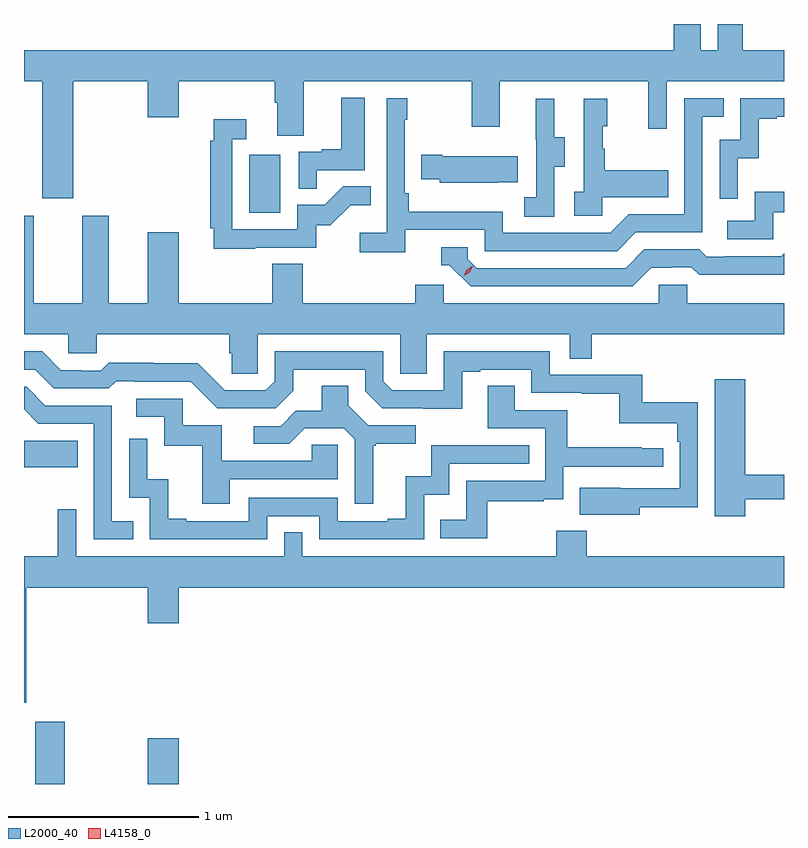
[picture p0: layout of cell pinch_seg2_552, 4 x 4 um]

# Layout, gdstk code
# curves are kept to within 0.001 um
import gdstk
lib = gdstk.Library(unit=1e-6, precision=1e-09)
def R(c, l, rs):  # rectangles x0, y0, x1, y1
    for r in rs: c.add(gdstk.rectangle(r[:2], r[2:], *l))
def P(c, l, *ps):  # polygons
    for p in ps: c.add(gdstk.Polygon(p, *l))
L2000_40 = (2000, 40)
L4158_0 = (4158, 0)

pinch_seg2_552 = lib.new_cell('pinch_seg2_552')
R(pinch_seg2_552, L2000_40, [(1099.48,621.294,1099.635,621.622), (1100.072,621.294,1100.236,621.535), (1099.421,622.961,1099.703,623.101), (1100.606,624.3,1100.77,624.607)])
P(pinch_seg2_552, L2000_40, [(1103.421,625.156),(1103.203,625.156),(1103.203,625.294),(1103.072,625.294),(1103.072,625.156),(1102.984,625.156),(1102.984,625.294),(1102.841,625.294),(1102.841,625.156),(1099.421,625.156),(1099.421,624.992),(1099.517,624.992),(1099.517,624.378),(1099.681,624.378),(1099.681,624.992),(1100.072,624.992),(1100.072,624.804),(1100.236,624.804),(1100.236,624.992),(1100.741,624.992),(1100.741,624.88),(1100.753,624.88),(1100.753,624.706),(1100.893,624.706),(1100.893,624.992),(1101.778,624.992),(1101.778,624.753),(1101.925,624.753),(1101.925,624.992),(1102.706,624.992),(1102.706,624.744),(1102.803,624.744),(1102.803,624.992),(1103.421,624.992)],
  [(1100.963,624.525),(1101.214,624.525),(1101.214,624.907),(1101.092,624.907),(1101.092,624.634),(1100.989,624.634),(1100.989,624.621),(1100.868,624.621),(1100.868,624.427),(1100.963,624.427)],
  [(1101.428,624.21),(1101.846,624.21),(1101.846,624.099),(1102.543,624.099),(1102.642,624.198),(1102.992,624.198),(1102.992,624.807),(1103.105,624.807),(1103.105,624.903),(1102.896,624.903),(1102.896,624.294),(1102.605,624.294),(1102.506,624.195),(1101.942,624.195),(1101.942,624.307),(1101.446,624.307),(1101.446,624.403),(1101.426,624.403),(1101.426,624.791),(1101.439,624.791),(1101.439,624.904),(1101.33,624.904),(1101.33,624.196),(1101.189,624.196),(1101.189,624.094),(1101.428,624.094)],
  [(1103.178,624.587),(1103.288,624.587),(1103.288,624.795),(1103.383,624.795),(1103.383,624.807),(1103.421,624.807),(1103.421,624.903),(1103.19,624.903),(1103.19,624.684),(1103.082,624.684),(1103.082,624.375),(1103.178,624.375)],
  [(1102.464,624.383),(1102.811,624.383),(1102.811,624.523),(1102.477,624.523),(1102.477,624.638),(1102.467,624.638),(1102.467,624.756),(1102.492,624.756),(1102.492,624.901),(1102.368,624.901),(1102.368,624.41),(1102.317,624.41),(1102.317,624.285),(1102.464,624.285)],
  [(1102.212,624.544),(1102.267,624.544),(1102.267,624.699),(1102.213,624.699),(1102.213,624.901),(1102.115,624.901),(1102.115,624.687),(1102.116,624.687),(1102.116,624.383),(1102.053,624.383),(1102.053,624.28),(1102.212,624.28)],
  [(1100.639,624.117),(1100.958,624.117),(1100.958,624.234),(1101.034,624.234),(1101.141,624.341),(1101.245,624.341),(1101.245,624.44),(1101.102,624.44),(1101.004,624.342),(1100.859,624.342),(1100.859,624.213),(1100.517,624.213),(1100.517,624.687),(1100.59,624.687),(1100.59,624.793),(1100.42,624.793),(1100.42,624.68),(1100.401,624.68),(1100.401,624.22),(1100.42,624.22),(1100.42,624.112),(1100.639,624.112)],
  [(1101.911,624.461),(1102.019,624.461),(1102.019,624.598),(1101.622,624.598),(1101.622,624.606),(1101.511,624.606),(1101.511,624.476),(1101.609,624.476),(1101.609,624.458),(1101.911,624.458)],
  [(1103.364,624.303),(1103.421,624.303),(1103.421,624.412),(1103.268,624.412),(1103.268,624.258),(1103.121,624.258),(1103.121,624.162),(1103.364,624.162)],
  [(1100.652,623.66),(1101.402,623.66),(1101.402,623.452),(1101.541,623.452),(1101.541,623.66),(1102.293,623.66),(1102.293,623.533),(1102.409,623.533),(1102.409,623.66),(1103.421,623.66),(1103.421,623.824),(1102.911,623.824),(1102.911,623.922),(1102.761,623.922),(1102.761,623.824),(1101.63,623.824),(1101.63,623.922),(1101.479,623.922),(1101.479,623.824),(1100.888,623.824),(1100.888,624.032),(1100.728,624.032),(1100.728,623.824),(1100.236,623.824),(1100.236,624.199),(1100.072,624.199),(1100.072,623.824),(1099.867,623.824),(1099.867,624.286),(1099.727,624.286),(1099.727,623.824),(1099.471,623.824),(1099.471,624.286),(1099.421,624.286),(1099.421,623.66),(1099.653,623.66),(1099.653,623.562),(1099.803,623.562),(1099.803,623.66),(1100.501,623.66),(1100.501,623.562),(1100.515,623.562),(1100.515,623.452),(1100.652,623.452)],
  [(1102.723,624.012),(1102.83,624.012),(1102.83,624.015),(1102.933,624.015),(1102.975,623.973),(1103.208,623.973),(1103.208,623.975),(1103.421,623.975),(1103.421,624.087),(1103.406,624.072),(1103.113,624.072),(1103.113,624.069),(1103.014,624.069),(1102.975,624.108),(1102.686,624.108),(1102.587,624.009),(1101.804,624.009),(1101.756,624.057),(1101.756,624.12),(1101.617,624.12),(1101.617,624.024),(1101.66,624.024),(1101.771,623.913),(1102.624,623.913)],
  [(1102.663,622.75),(1102.968,622.75),(1102.968,623.302),(1102.675,623.302),(1102.675,623.448),(1102.188,623.448),(1102.188,623.571),(1101.63,623.571),(1101.63,623.367),(1101.36,623.367),(1101.312,623.415),(1101.312,623.571),(1100.742,623.571),(1100.742,623.415),(1100.694,623.367),(1100.478,623.367),(1100.336,623.509),(1100.1,623.509),(1100.1,623.512),(1099.867,623.512),(1099.825,623.469),(1099.722,623.469),(1099.722,623.472),(1099.615,623.472),(1099.516,623.571),(1099.421,623.571),(1099.421,623.475),(1099.479,623.475),(1099.578,623.376),(1099.867,623.376),(1099.906,623.415),(1100.005,623.415),(1100.005,623.412),(1100.298,623.412),(1100.439,623.271),(1100.745,623.271),(1100.839,623.365),(1100.839,623.475),(1101.216,623.475),(1101.216,623.361),(1101.306,623.271),(1101.727,623.27),(1101.727,623.463),(1101.823,623.463),(1101.823,623.475),(1102.092,623.475),(1102.092,623.352),(1102.357,623.352),(1102.357,623.347),(1102.554,623.347),(1102.554,623.192),(1102.859,623.192),(1102.859,623.096),(1102.872,623.096),(1102.872,622.851),(1102.345,622.852),(1102.345,622.712),(1102.663,622.712)],
  [(1103.218,622.794),(1103.421,622.794),(1103.421,622.922),(1103.218,622.922),(1103.218,623.425),(1103.057,623.425),(1103.057,622.704),(1103.218,622.704)],
  [(1101.259,623.073),(1101.271,623.073),(1101.271,623.084),(1101.484,623.084),(1101.484,623.181),(1101.234,623.181),(1101.127,623.288),(1101.127,623.39),(1100.987,623.39),(1100.987,623.258),(1100.852,623.258),(1100.772,623.178),(1100.631,623.178),(1100.631,623.085),(1100.818,623.085),(1100.899,623.166),(1101.105,623.166),(1101.162,623.109),(1101.162,622.77),(1101.259,622.77)],
  [(1101.859,622.782),(1102.157,622.782),(1102.157,622.793),(1102.26,622.793),(1102.26,622.965),(1102.786,622.965),(1102.786,623.061),(1102.673,623.061),(1102.673,623.066),(1102.28,623.066),(1102.28,623.262),(1102.003,623.262),(1102.003,623.39),(1101.863,623.39),(1101.863,623.166),(1102.164,623.166),(1102.164,622.89),(1101.748,622.89),(1101.748,622.684),(1101.613,622.684),(1101.613,622.587),(1101.859,622.587)],
  [(1099.997,622.677),(1099.884,622.677),(1099.884,623.286),(1099.534,623.286),(1099.435,623.385),(1099.421,623.385),(1099.421,623.266),(1099.497,623.19),(1099.788,623.19),(1099.788,622.581),(1099.997,622.581)],
  [(1100.503,622.899),(1101.072,622.899),(1101.072,623.079),(1100.935,623.079),(1100.935,622.995),(1100.461,622.995),(1100.461,623.181),(1100.256,623.181),(1100.256,623.322),(1100.013,623.322),(1100.013,623.226),(1100.16,623.226),(1100.16,623.073),(1100.359,623.073),(1100.359,622.77),(1100.503,622.77)],
  [(1100.7,622.704),(1100.976,622.704),(1100.976,622.581),(1101.528,622.581),(1101.528,622.817),(1101.66,622.817),(1101.66,622.98),(1102.079,622.98),(1102.079,623.076),(1101.564,623.076),(1101.564,622.915),(1101.431,622.915),(1101.431,622.69),(1101.335,622.69),(1101.335,622.677),(1101.072,622.677),(1101.072,622.8),(1100.604,622.8),(1100.604,622.677),(1100.275,622.677),(1100.275,622.69),(1100.18,622.69),(1100.18,622.898),(1100.07,622.898),(1100.07,623.11),(1099.974,623.11),(1099.974,622.8),(1100.082,622.8),(1100.082,622.581),(1100.7,622.581)],
  [(1099.432,622.328),(1100.072,622.328),(1100.072,622.14),(1100.236,622.14),(1100.236,622.328),(1103.421,622.328),(1103.421,622.492),(1102.382,622.492),(1102.382,622.627),(1102.222,622.627),(1102.222,622.492),(1100.886,622.492),(1100.886,622.619),(1100.79,622.619),(1100.79,622.492),(1099.695,622.492),(1099.695,622.741),(1099.598,622.741),(1099.598,622.492),(1099.421,622.492),(1099.421,621.722),(1099.432,621.722)])
P(pinch_seg2_552, L4158_0, [(1101.735,623.968),(1101.735,623.968),(1101.751,624.001),(1101.782,624.021),(1101.782,624.021),(1101.782,624.021),(1101.766,623.988),(1101.736,623.968)])

lib.write_gds('pinch_seg2_552.gds')
